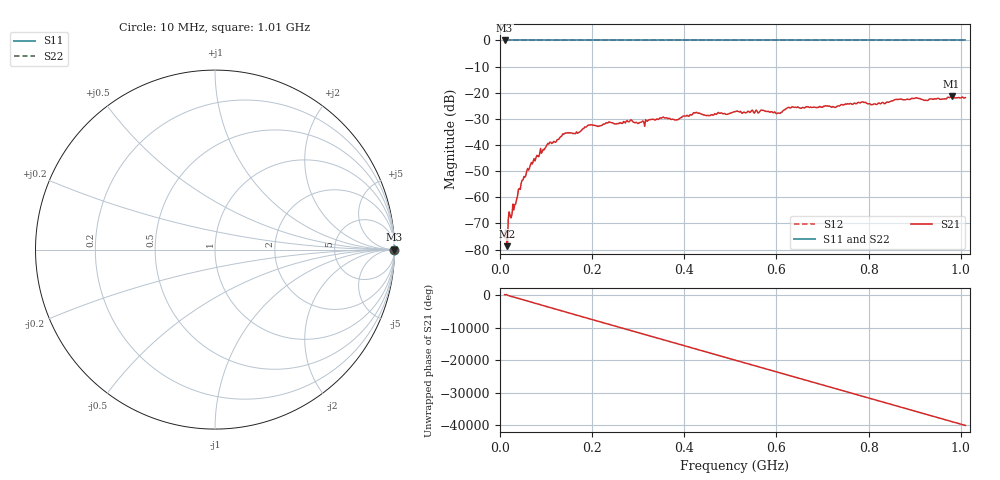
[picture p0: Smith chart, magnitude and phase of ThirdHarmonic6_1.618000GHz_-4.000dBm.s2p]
! 8/16/2025 7:18:57 PM
! C:\ANRITSUVNA\TEMP\TEMP.S2P
! CHANNEL.1
! TR.MEASUREMENT
! RAW.DATA
! RF.CORRECTION.OFF
! AVERAGING.OFF
! IF.BANDWIDTH: 5KHZ
! SWEEPTYPE:  FREQ.SWEEP(Linear)
! Reference Plane Port Info
! PORT:  PORT1  PORT2
! DISTANCE:  0  m  0  m
! TIME:  0  s  0  s
! PHASE.OFFSET:  0  deg.  0  deg.
! LOSS:  0  dB  0  dB
! REF.LOSS:  0  dB  0  dB
! REF.FREQ:  0  Hz  0  Hz
! Power Info
! POWER:  -20  dBm  -20  dBm
! EFF.POWER:  -20  dBm  -20  dBm
! SOURCE.ATTEN:  0  dB  0  dB
! TEST.ATTEN:  0  dB  0  dB
# GHZ S RI R 50.0
! FREQ.GHZ  S11RE  S11IM  S21RE  S21IM  S12RE  S12IM  S22RE  S22IM
!; PortSelection: Port_12
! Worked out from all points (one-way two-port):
!   501 points, 10 MHz to 1.01 GHz, reference 50 ohm
!   highest |S21| = -21.23 dB at 980 MHz (marker M1); lowest = -78.7 dB at 16 MHz (marker M2)
!   lowest |S11| = 0.0 dB at 10 MHz (marker M3)
!   |S11| at or under -10 dB: nowhere
!   |S22| runs from 0.0 to 0.0 dB; largest |S21 - S12| = 1.1
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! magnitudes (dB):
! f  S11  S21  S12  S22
! 10 MHz  0.0  -75.5  0.0  0.0
! 12 MHz  0.0  -72.4  0.0  0.0
! 16 MHz  0.0  -78.7  0.0  0.0
! 22 MHz  0.0  -67.2  0.0  0.0
! 34 MHz  0.0  -62.6  0.0  0.0
! 44 MHz  0.0  -57.0  0.0  0.0
! 70 MHz  0.0  -47.3  0.0  0.0
! 106 MHz  0.0  -39.6  0.0  0.0
! 140 MHz  0.0  -35.6  0.0  0.0
! 178 MHz  0.0  -34.1  0.0  0.0
! 196 MHz  0.0  -32.3  0.0  0.0
! 344 MHz  0.0  -30.2  0.0  0.0
! 382 MHz  0.0  -30.4  0.0  0.0
! 424 MHz  0.0  -27.7  0.0  0.0
! 452 MHz  0.0  -28.7  0.0  0.0
! 510 MHz  0.0  -27.3  0.0  0.0
! 604 MHz  0.0  -27.8  0.0  0.0
! 630 MHz  0.0  -25.8  0.0  0.0
! 678 MHz  0.0  -25.6  0.0  0.0
! 844 MHz  0.0  -23.6  0.0  0.0
! 980 MHz  0.0  -21.2  0.0  0.0
! 1.01 GHz  0.0  -21.9  0.0  0.0
